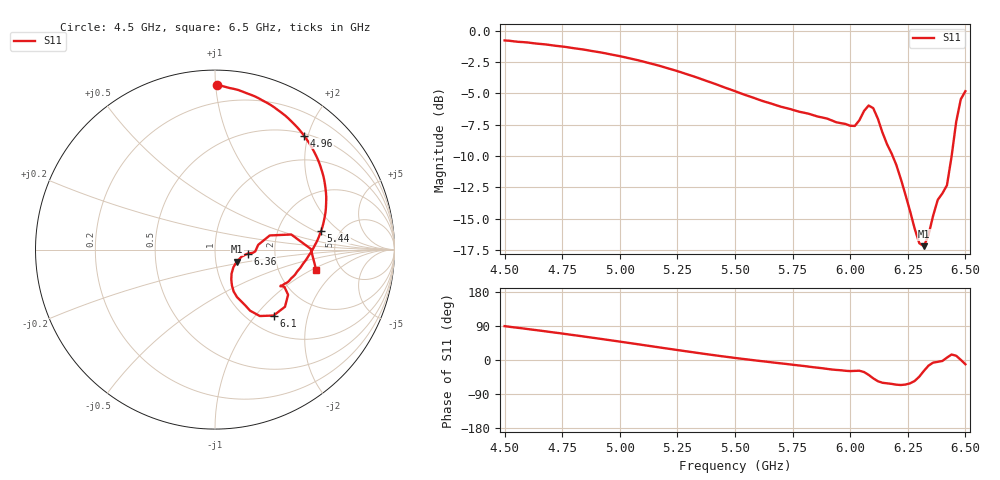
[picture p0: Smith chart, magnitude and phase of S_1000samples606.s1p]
! TOUCHSTONE file generated by CST MICROWAVE STUDIO
! Date and time: Fri Oct 28 18:11:40 2022
! Project name: L.cst
! Parameters = {Di=1.27; Epsilon_r=1.56; InnerDiameter=1.27; Length=2; Lf=10; Lg=60; OuterConductorThickness=0.2921; OuterDiameter=3.6; Wf=3; Wp=41.2; de=1.5; df=6.8; g=0.8; gx=0.589881; gy=4.21788; h=2.34; hf=1.524; px=9.0667; py=14.9019; w=9.7; wx=8.47682; wy=10.684}
! Header version: 2018
! Port assignment regex: !\s*Touchstone port\s*([0-9]+)\s*=\s*(CST MWS port|CST DS port)\s*([0-9]+|Zmin|Zmax)\s*\(\"(.*)\"\)(\s*mode\s*([0-9]+))?.*
! Touchstone port assignment:
! Touchstone port 1 = CST MWS port 1 ("")
# GHz S DB R 50
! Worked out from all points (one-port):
!   101 points, 4.5 GHz to 6.5 GHz, reference 50 ohm
!   lowest |S11| = -17.2 dB at 6.32 GHz (marker M1), VSWR 1.32, Z = 63.2 - j8.54 ohm
!   |S11| at or under -10 dB: 6.184 GHz to 6.44 GHz (255.8 MHz wide, 4.05 % of centre)
!   S11 on the Smith chart (normalised r, x): 4.5 GHz: 0.09, +1.01; 4.96 GHz: 0.53, +1.93; 5.44 GHz: 3.59, +1.19; 6.1 GHz: 1.29, -1.25; 6.36 GHz: 1.44, -0.07; 6.5 GHz: 3.30, -1.10
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4.5  -0.77 89.4
4.76  -1.27 69.0
4.96  -1.88 52.0
5  -2.02 48.5
5.12  -2.54 37.9
5.26  -3.27 25.4
5.44  -4.42 10.2
5.5  -4.81 5.5
5.76  -6.36 -13.2
6  -7.58 -29.3
6.04  -7.13 -28.3
6.06  -6.40 -31.7
6.08  -5.96 -39.2
6.1  -6.17 -48.4
6.12  -7.01 -56.0
6.14  -8.11 -60.1
6.2  -10.69 -65.1
6.26  -14.40 -61.6
6.3  -16.95 -43.8
6.32  -17.18 -28.7
6.34  -16.29 -14.8
6.36  -14.75 -6.9
6.38  -13.49 -4.8
6.42  -12.32 6.3
6.44  -10.03 14.5
6.46  -7.27 11.2
6.48  -5.46 0.4
6.5  -4.82 -11.2
